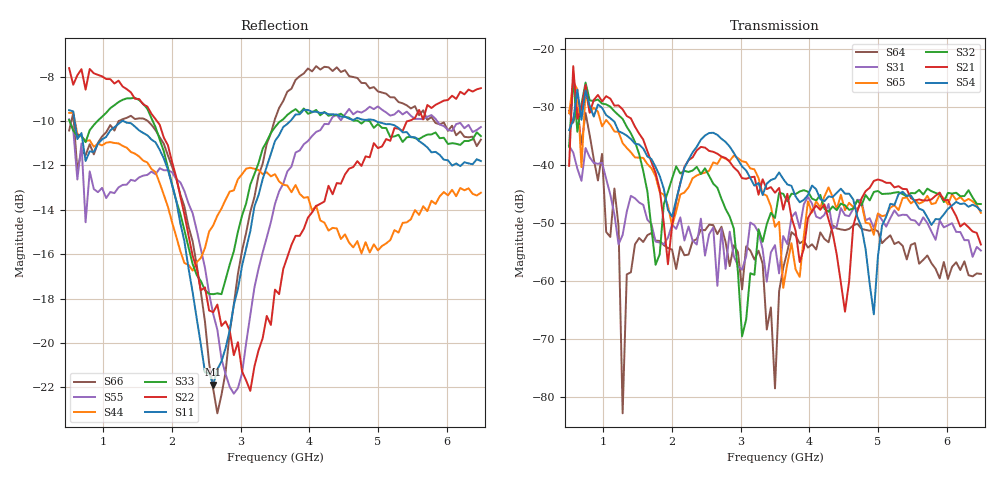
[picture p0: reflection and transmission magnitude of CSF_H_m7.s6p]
!Keysight Technologies,M9804A,MY58100912,A.14.10.03
!Date: Thursday, April 27, 2023 10:28:33
!Correction: S11(C  6-Port  )
!S12(C  6-Port  )
!S13(C  6-Port  )
!S14(C  6-Port  )
!S15(C  6-Port  )
!S16(C  6-Port  )
!S21(C  6-Port  )
!S22(C  6-Port  )
!S23(C  6-Port  )
!S24(C  6-Port  )
!S25(C  6-Port  )
!S26(C  6-Port  )
!S31(C  6-Port  )
!S32(C  6-Port  )
!S33(C  6-Port  )
!S34(C  6-Port  )
!S35(C  6-Port  )
!S36(C  6-Port  )
!S41(C  6-Port  )
!S42(C  6-Port  )
!S43(C  6-Port  )
!S44(C  6-Port  )
!S45(C  6-Port  )
!S46(C  6-Port  )
!S51(C  6-Port  )
!S52(C  6-Port  )
!S53(C  6-Port  )
!S54(C  6-Port  )
!S55(C  6-Port  )
!S56(C  6-Port  )
!S61(C  6-Port  )
!S62(C  6-Port  )
!S63(C  6-Port  )
!S64(C  6-Port  )
!S65(C  6-Port  )
!S66(C  6-Port  )
!S6P File: Measurement: :
# Hz S  RI  R 50
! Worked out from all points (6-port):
!   101 points, 500 MHz to 6.5 GHz, reference 50 ohm
!   strongest paths, dB at 500 MHz, 2 GHz, 3.5 GHz, 5 GHz, 6.5 GHz:
!     S54: -34.0, -48.9, -42.4, -55.8, -47.9
!     S21: -40.2, -50.4, -44.8, -42.6, -53.8
!     S32: -36.9, -42.4, -49.2, -44.5, -46.8
!     S65: -31.1, -50.6, -50.7, -48.4, -48.3
!     S31: -36.7, -50.3, -53.9, -48.5, -54.8
!     S64: -30.7, -54.6, -78.5, -51.5, -58.8
!   lowest |S11| = -21.9 dB at 2.6 GHz (marker M1), VSWR 1.18, Z = 42.8 + j1.94 ohm
!   |S11| at or under -10 dB: 581 MHz to 1.274 GHz (692.8 MHz wide, 74.7 % of centre); 1.29 GHz to 3.722 GHz (2.433 GHz wide, 97.1 % of centre); 4.969 GHz to end of sweep
